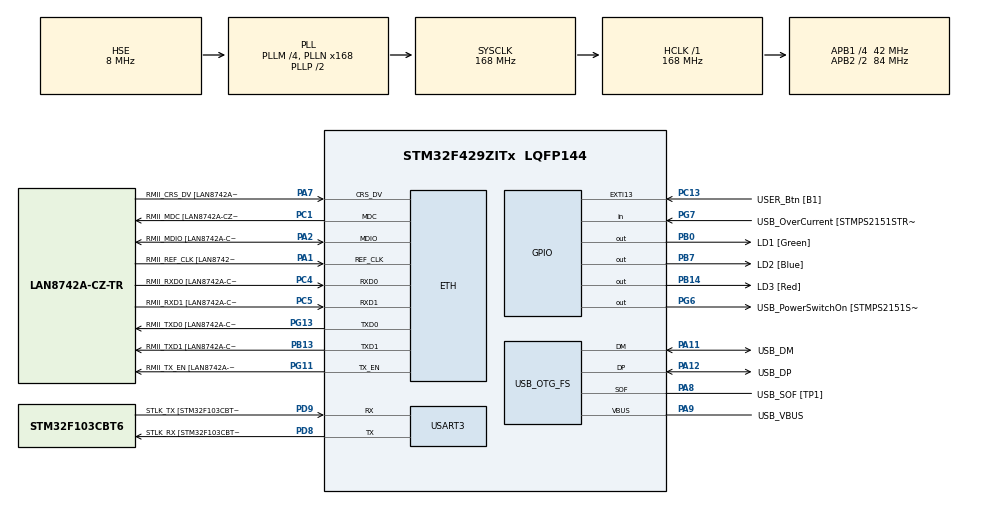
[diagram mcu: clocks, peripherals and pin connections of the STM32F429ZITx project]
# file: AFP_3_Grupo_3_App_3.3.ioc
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ETH.MediaInterface=HAL_ETH_RMII_MODE
ETH.PHY_Name=LAN8742A_PHY_ADDRESS
ETH.PHY_Value=0
ETH.PhyAddress=0
Mcu.Family=STM32F4
Mcu.Name=STM32F429ZITx
Mcu.Package=LQFP144
NVIC.PriorityGroup=NVIC_PRIORITYGROUP_4
PA1.GPIO_Label=RMII_REF_CLK [LAN8742A-CZ-TR_REFCLK0]
PA1.Mode=RMII
PA1.Signal=ETH_REF_CLK
PA10.GPIO_Label=USB_ID
PA10.Signal=USB_OTG_FS_ID
PA11.GPIO_Label=USB_DM
PA11.Mode=Device_Only
PA11.Signal=USB_OTG_FS_DM
PA12.GPIO_Label=USB_DP
PA12.Mode=Device_Only
PA12.Signal=USB_OTG_FS_DP
PA13.GPIO_Label=TMS
PA13.Mode=Serial_Wire
PA13.Signal=SYS_JTMS-SWDIO
PA14.GPIO_Label=TCK
PA14.Mode=Serial_Wire
PA14.Signal=SYS_JTCK-SWCLK
PA2.GPIO_Label=RMII_MDIO [LAN8742A-CZ-TR_MDIO]
PA2.Mode=RMII
PA2.Signal=ETH_MDIO
PA7.GPIO_Label=RMII_CRS_DV [LAN8742A-CZ-TR_CRS_DV]
PA7.Mode=RMII
PA7.Signal=ETH_CRS_DV
PA8.GPIO_Label=USB_SOF [TP1]
PA8.Mode=Activate_SOF_FS
PA8.Signal=USB_OTG_FS_SOF
PA9.GPIO_Label=USB_VBUS
PA9.Mode=Activate_VBUS
PA9.Signal=USB_OTG_FS_VBUS
PB0.GPIO_Label=LD1 [Green]
PB0.Signal=GPIO_Output
PB13.GPIO_Label=RMII_TXD1 [LAN8742A-CZ-TR_TXD1]
PB13.Mode=RMII
PB13.Signal=ETH_TXD1
PB14.GPIO_Label=LD3 [Red]
PB14.Signal=GPIO_Output
PB7.GPIO_Label=LD2 [Blue]
PB7.Signal=GPIO_Output
PC1.GPIO_Label=RMII_MDC [LAN8742A-CZ-TR_MDC]
PC1.Mode=RMII
PC1.Signal=ETH_MDC
PC13.GPIO_Label=USER_Btn [B1]
PC13.Signal=GPXTI13
PC14/OSC32_IN.Mode=LSE-External-Oscillator
PC14/OSC32_IN.Signal=RCC_OSC32_IN
PC15/OSC32_OUT.Mode=LSE-External-Oscillator
PC15/OSC32_OUT.Signal=RCC_OSC32_OUT
PC4.GPIO_Label=RMII_RXD0 [LAN8742A-CZ-TR_RXD0]
PC4.Mode=RMII
PC4.Signal=ETH_RXD0
PC5.GPIO_Label=RMII_RXD1 [LAN8742A-CZ-TR_RXD1]
PC5.Mode=RMII
PC5.Signal=ETH_RXD1
PD8.GPIO_Label=STLK_RX [STM32F103CBT6_PA3]
PD8.Mode=Asynchronous
PD8.Signal=USART3_TX
PD9.GPIO_Label=STLK_TX [STM32F103CBT6_PA2]
PD9.Mode=Asynchronous
PD9.Signal=USART3_RX
PG11.GPIO_Label=RMII_TX_EN [LAN8742A-CZ-TR_TXEN]
PG11.Mode=RMII
PG11.Signal=ETH_TX_EN
PG13.GPIO_Label=RMII_TXD0 [LAN8742A-CZ-TR_TXD0]
PG13.Mode=RMII
PG13.Signal=ETH_TXD0
PG6.GPIO_Label=USB_PowerSwitchOn [STMPS2151STR_EN]
PG6.Signal=GPIO_Output
PG7.GPIO_Label=USB_OverCurrent [STMPS2151STR_FAULT]
PG7.Signal=GPIO_Input
PH0/OSC_IN.GPIO_Label=MCO [STM32F103CBT6_PA8]
PH0/OSC_IN.Mode=HSE-External-Clock-Source
PH0/OSC_IN.Signal=RCC_OSC_IN
PH1/OSC_OUT.Mode=HSE-External-Clock-Source
PH1/OSC_OUT.Signal=RCC_OSC_OUT
ProjectManager.HeapSize=0x200
ProjectManager.StackSize=0x400
ProjectManager.TargetToolchain=STM32CubeIDE
RCC.48MHZClocksFreq_Value=48000000
RCC.AHBFreq_Value=168000000
RCC.APB1CLKDivider=RCC_HCLK_DIV4
RCC.APB1Freq_Value=42000000
RCC.APB1TimFreq_Value=84000000
RCC.APB2CLKDivider=RCC_HCLK_DIV2
RCC.APB2Freq_Value=84000000
RCC.APB2TimCLKDivider=2
RCC.APB2TimFreq_Value=168000000
RCC.CortexFreq_Value=168000000
RCC.HCLKFreq_Value=168000000
RCC.HSE_VALUE=8000000
RCC.HSI_VALUE=16000000
RCC.PLLM=4
RCC.PLLMUL=RCC_PLL_MUL9
RCC.PLLN=168
RCC.PLLQ=7
RCC.PRESCALERUSB=RCC_USBCLKSOURCE_PLL_DIV1_5
RCC.SYSCLKFreq_VALUE=168000000
RCC.SYSCLKSource=RCC_SYSCLKSOURCE_PLLCLK
RCC.SYSCLKSourceVirtual=RCC_SYSCLKSOURCE_PLLCLK
RCC.USBFreq_Value=48000000
RCC.VCOOutputFreq_Value=336000000
USART3.VirtualMode=VM_ASYNC
USB_OTG_FS.VirtualMode=Device_Only
board=NUCLEO-F429ZI

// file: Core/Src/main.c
/* USER CODE BEGIN Header */
/**
  ******************************************************************************
  * @file           : main.c
  * @brief          : Main program body
  ******************************************************************************
  * @attention
  *
  * Copyright (c) 2024 STMicroelectronics.
  * All rights reserved.
  *
  * This software is licensed under terms that can be found in the LICENSE file
  * in the root directory of this software component.
  * If no LICENSE file comes with this software, it is provided AS-IS.
  *
  ******************************************************************************
  */
/* USER CODE END Header */
#include "main.h"
#include "string.h"

/* USER CODE BEGIN Includes */

#include "API_GPIO.h"
#include "API_Delay.h"

/* USER CODE END Includes */

ETH_TxPacketConfig TxConfig;
ETH_DMADescTypeDef  DMARxDscrTab[ETH_RX_DESC_CNT]; /* Ethernet Rx DMA Descriptors */
ETH_DMADescTypeDef  DMATxDscrTab[ETH_TX_DESC_CNT]; /* Ethernet Tx DMA Descriptors */

ETH_HandleTypeDef heth;

UART_HandleTypeDef huart3;

PCD_HandleTypeDef hpcd_USB_OTG_FS;

void SystemClock_Config(void);
static void MX_ETH_Init(void);
static void MX_USART3_UART_Init(void);
static void MX_USB_OTG_FS_PCD_Init(void);

int main(void)
{

  /* MCU Configuration--------------------------------------------------------*/

  /* Reset of all peripherals, Initializes the Flash interface and the Systick. */
  HAL_Init();

  /* Configure the system clock */
  SystemClock_Config();

  /* Initialize all configured peripherals */
  MX_GPIO_Init();
  MX_ETH_Init();
  MX_USART3_UART_Init();
  MX_USB_OTG_FS_PCD_Init();
  /* USER CODE BEGIN 2 */

  uint16_t vector_Pin_LEDs[CANTIDAD_LEDS] = {LD1_Pin, LD2_Pin, LD3_Pin};  //Vector que contiene los pines de los leds
  uint8_t secuencia_actual = 1;	// variable que indica que secuencia se esta ejecutando, sus valores van entre 1 y 4.

  /* Aqui se crea los elementos de tipo delay_t que se utilizaran para controlar los distintos delays de las secuencias */
  delay_t timer_secuencia1;
  delay_t timer_secuencia2;
  delay_t timer_secuencia3_led1;
  delay_t timer_secuencia3_led2;
  delay_t timer_secuencia3_led3;//en la secuencia 3, hay varios elementos delay_t debido a que cada led tiene un delay de distinto tiempo
  delay_t timer_secuencia4;

  delay_t timer_lectura_boton; // este delay se usa para comprobar de manera correcta el boton

  /* Aqui se establece el tiempo de duracion de cada delay*/
  delayInit(&timer_secuencia1, 150);
  delayInit(&timer_secuencia2, 300);
  delayInit(&timer_secuencia3_led1, 100);
  delayInit(&timer_secuencia3_led2, 300);
  delayInit(&timer_secuencia3_led3, 600);
  delayInit(&timer_secuencia4, 150);
  delayInit(&timer_lectura_boton, 40);

  /* Variables para realizar la lectura del boton*/
  buttonStatus_t estado_boton;
  bool_t bloqueo_boton = false;  // Esta variable se inicializa en "false", permitiendo la lectura del boton

  /* Variables para el manejo de los led de cada secuencia */
  uint8_t led_actual = 0;
  bool_t estado_led = false; // Almacena en que fase de la secuencia se encuentra el led. true-> Encendido, false-> Apagado.

  /* USER CODE END 2 */

  /* Infinite loop */
  /* USER CODE BEGIN WHILE */
  while (1)
  {
	  /*
	   * Comprobacion del estado del boton:
	   * 1-Primero realiza una primera lectura en el momento en que se presiona el boton
	   * 2-En ese momento inicia un conteo de 40 milisegundos
	   * 4-Al haber transcurrido los 40 milisegundos y si el boton no se encuentra bloqueado, se toma la lectura del boton y se guarda en "estado_boton"
	   * 5-Se bloquea el boton para que no vuelva a activar un cambio de secuencia inesperado al mantenerse presionado
	   * (el efecto de no usar este bloque es que si el usuario mantiene presionado por un tiempo largo el boton, la secuencia cambiaria cada 40 milisegundos)
	   * 6-Al soltarse el boton, el bloqueo del boton se desactiva
	   * */
	  if(readButton_GPIO()){
		  if(delayRead(&timer_lectura_boton) && !bloqueo_boton){
			  estado_boton = true;
			  bloqueo_boton = true;
		  }
	  }else{
		  bloqueo_boton = false;
	  }

	  /*
	   * Esta funcion lee la lectura del boton que se tomó en la rutina anterior
	   * Si se recibe una lectura del boton positiva (estado_boton == true), procede a:
	   * 1- Apagar todos los leds
	   * 2- Preparar la configuracion inicial de los leds en caso de ser necesario (Ejemplo: la secuencia 4, comienza con los leds 1 y 3 encendidos y el 2 apagado)
	   * 3- Cambia a la secuencia siguiente, en caso de encontrarse en la secuencia 4, vuelve a la 1
	   * 4- Cambia la variable estado_boton a false para que solo suceda una vez, y no cambie de forma indefinida la secuencia cada vez que pase por la condicional
	   *
	   * */
	  if(estado_boton){
		  for(int i=0;i<CANTIDAD_LEDS;i++){
			  writeLedOff_GPIO(vector_Pin_LEDs[i]);
		  }
		  if(secuencia_actual == 3){
			  for(int i=0;i<CANTIDAD_LEDS;i++){
				  if(i%2){
					  writeLedOn_GPIO(vector_Pin_LEDs[i]);
				  }else{
					  writeLedOff_GPIO(vector_Pin_LEDs[i]);
				  }
			  }
			  secuencia_actual += 1;
		  }else if(secuencia_actual == 4){
			  secuencia_actual = 1;
		  }else{
			  secuencia_actual += 1;
		  }
		  estado_boton = false;
	  }

	  /* Secuencia 1*/
	  if(delayRead(&timer_secuencia1) && secuencia_actual == 1){
		  if(estado_led){
			  writeLedOff_GPIO(vector_Pin_LEDs[led_actual]);

			  /* Seleccionar el siguiente led de la secuencia*/
			  if(led_actual == (CANTIDAD_LEDS-1)){
				  led_actual = 0;
			  }else{
				  led_actual++;
			  }

			  estado_led = false;
		  }else{
			  writeLedOn_GPIO(vector_Pin_LEDs[led_actual]);
			  estado_led = true;
		  }
	  }

	  /* Secuencia 2*/
	  if(delayRead(&timer_secuencia2) && secuencia_actual == 2){
		  if(estado_led){
			  for(int i=0;i<CANTIDAD_LEDS;i++){
				  writeLedOff_GPIO(vector_Pin_LEDs[i]);
			  }
			  estado_led = false;
		  }else{
			  for(int i=0;i<CANTIDAD_LEDS;i++){
				  writeLedOn_GPIO(vector_Pin_LEDs[i]);
			  }
			  estado_led = true;
		  }
	  }

	  /* Secuencia 3*/
	  if(secuencia_actual == 3){
		  if(delayRead(&timer_secuencia3_led1)){
			  toggleLed_GPIO(vector_Pin_LEDs[0]);
		  }
		  if(delayRead(&timer_secuencia3_led2)){
			  toggleLed_GPIO(vector_Pin_LEDs[1]);
		  }
		  if(delayRead(&timer_secuencia3_led3)){
			  toggleLed_GPIO(vector_Pin_LEDs[2]);
		  }
	  }

	  /* Secuencia 4*/
	  if(delayRead(&timer_secuencia4) && secuencia_actual == 4){
		  if(estado_led){
			  for(int i=0;i<CANTIDAD_LEDS;i++){
				  toggleLed_GPIO(vector_Pin_LEDs[i]);
			  }
			  estado_led = false;
		  }else{
			  for(int i=0;i<CANTIDAD_LEDS;i++){
				  toggleLed_GPIO(vector_Pin_LEDs[i]);
			  }
			  estado_led = true;
		  }
	  }

    /* USER CODE END WHILE */

  }
}

void SystemClock_Config(void)
{
  RCC_OscInitTypeDef RCC_OscInitStruct = {0};
  RCC_ClkInitTypeDef RCC_ClkInitStruct = {0};

  /** Configure the main internal regulator output voltage
  */
  __HAL_RCC_PWR_CLK_ENABLE();
  __HAL_PWR_VOLTAGESCALING_CONFIG(PWR_REGULATOR_VOLTAGE_SCALE1);

  /** Initializes the RCC Oscillators according to the specified parameters
  * in the RCC_OscInitTypeDef structure.
  */
  RCC_OscInitStruct.OscillatorType = RCC_OSCILLATORTYPE_HSE;
  RCC_OscInitStruct.HSEState = RCC_HSE_BYPASS;
  RCC_OscInitStruct.PLL.PLLState = RCC_PLL_ON;
  RCC_OscInitStruct.PLL.PLLSource = RCC_PLLSOURCE_HSE;
  RCC_OscInitStruct.PLL.PLLM = 4;
  RCC_OscInitStruct.PLL.PLLN = 168;
  RCC_OscInitStruct.PLL.PLLP = RCC_PLLP_DIV2;
  RCC_OscInitStruct.PLL.PLLQ = 7;
  if (HAL_RCC_OscConfig(&RCC_OscInitStruct) != HAL_OK)
  {
    Error_Handler();
  }

  /** Initializes the CPU, AHB and APB buses clocks
  */
  RCC_ClkInitStruct.ClockType = RCC_CLOCKTYPE_HCLK|RCC_CLOCKTYPE_SYSCLK
                              |RCC_CLOCKTYPE_PCLK1|RCC_CLOCKTYPE_PCLK2;
  RCC_ClkInitStruct.SYSCLKSource = RCC_SYSCLKSOURCE_PLLCLK;
  RCC_ClkInitStruct.AHBCLKDivider = RCC_SYSCLK_DIV1;
  RCC_ClkInitStruct.APB1CLKDivider = RCC_HCLK_DIV4;
  RCC_ClkInitStruct.APB2CLKDivider = RCC_HCLK_DIV2;

  if (HAL_RCC_ClockConfig(&RCC_ClkInitStruct, FLASH_LATENCY_5) != HAL_OK)
  {
    Error_Handler();
  }
}

static void MX_ETH_Init(void)
{

   static uint8_t MACAddr[6];

  heth.Instance = ETH;
  MACAddr[0] = 0x00;
  MACAddr[1] = 0x80;
  MACAddr[2] = 0xE1;
  MACAddr[3] = 0x00;
  MACAddr[4] = 0x00;
  MACAddr[5] = 0x00;
  heth.Init.MACAddr = &MACAddr[0];
  heth.Init.MediaInterface = HAL_ETH_RMII_MODE;
  heth.Init.TxDesc = DMATxDscrTab;
  heth.Init.RxDesc = DMARxDscrTab;
  heth.Init.RxBuffLen = 1524;

  if (HAL_ETH_Init(&heth) != HAL_OK)
  {
    Error_Handler();
  }

  memset(&TxConfig, 0 , sizeof(ETH_TxPacketConfig));
  TxConfig.Attributes = ETH_TX_PACKETS_FEATURES_CSUM | ETH_TX_PACKETS_FEATURES_CRCPAD;
  TxConfig.ChecksumCtrl = ETH_CHECKSUM_IPHDR_PAYLOAD_INSERT_PHDR_CALC;
  TxConfig.CRCPadCtrl = ETH_CRC_PAD_INSERT;

}

static void MX_USART3_UART_Init(void)
{

  huart3.Instance = USART3;
  huart3.Init.BaudRate = 115200;
  huart3.Init.WordLength = UART_WORDLENGTH_8B;
  huart3.Init.StopBits = UART_STOPBITS_1;
  huart3.Init.Parity = UART_PARITY_NONE;
  huart3.Init.Mode = UART_MODE_TX_RX;
  huart3.Init.HwFlowCtl = UART_HWCONTROL_NONE;
  huart3.Init.OverSampling = UART_OVERSAMPLING_16;
  if (HAL_UART_Init(&huart3) != HAL_OK)
  {
    Error_Handler();
  }

}

static void MX_USB_OTG_FS_PCD_Init(void)
{

  hpcd_USB_OTG_FS.Instance = USB_OTG_FS;
  hpcd_USB_OTG_FS.Init.dev_endpoints = 4;
  hpcd_USB_OTG_FS.Init.speed = PCD_SPEED_FULL;
  hpcd_USB_OTG_FS.Init.dma_enable = DISABLE;
  hpcd_USB_OTG_FS.Init.phy_itface = PCD_PHY_EMBEDDED;
  hpcd_USB_OTG_FS.Init.Sof_enable = ENABLE;
  hpcd_USB_OTG_FS.Init.low_power_enable = DISABLE;
  hpcd_USB_OTG_FS.Init.lpm_enable = DISABLE;
  hpcd_USB_OTG_FS.Init.vbus_sensing_enable = ENABLE;
  hpcd_USB_OTG_FS.Init.use_dedicated_ep1 = DISABLE;
  if (HAL_PCD_Init(&hpcd_USB_OTG_FS) != HAL_OK)
  {
    Error_Handler();
  }

}

void Error_Handler(void)
{
  __disable_irq();
  while (1)
  {
  }
}
